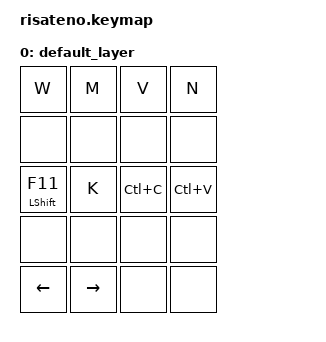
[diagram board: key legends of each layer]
#include <behaviors.dtsi>
#include <dt-bindings/zmk/keys.h>
#include <dt-bindings/zmk/bt.h>

/ {
    keymap {
        compatible = "zmk,keymap";

        default_layer {
            bindings = <
                /* Индексы 0-3: верхний ряд */
                &kp W           &kp M          &kp V          &kp N
                
                /* Индексы 4-7: правая сторона (не используются) */
                &none           &none          &none          &none
                
                /* Индексы 8-11: нижний ряд */
                &mt LSHIFT F11  &kp K          &kp LC(C)      &kp LC(V)
                
                /* Индексы 12-15: правая сторона (не используются) */
                &none           &none          &none          &none
                
                /* Индексы 16-19: большие пальцы + правая сторона */
                &kp LEFT        &kp RIGHT      &none          &none
            >;
        };
    };

    combos {
        compatible = "zmk,combos";
        
        bt_clear {
            key-positions = <0 11>;  // W + LC(V)
            bindings = <&bt BT_CLR>;
            timeout-ms = <50>;
        };
    };
};
